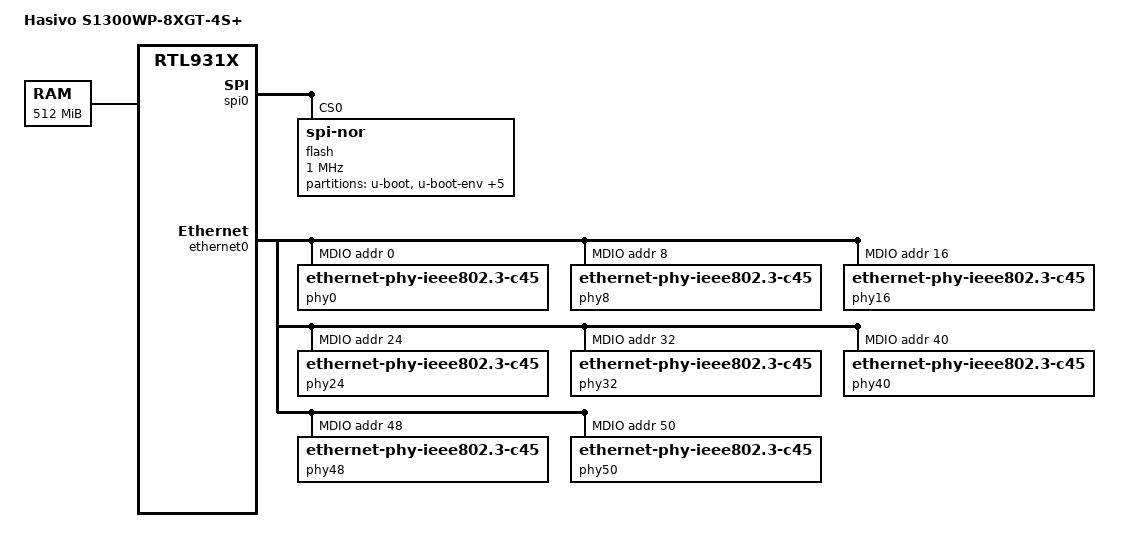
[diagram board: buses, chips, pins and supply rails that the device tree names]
// SPDX-License-Identifier: GPL-2.0-or-later
/dts-v1/;

#include "rtl931x.dtsi"

#include <dt-bindings/input/input.h>
#include <dt-bindings/gpio/gpio.h>
#include <dt-bindings/leds/common.h>

/ {
	compatible = "hasivo,s1300wp-8xgt-4s+", "realtek,rtl931x-soc";
	model = "Hasivo S1300WP-8XGT-4S+";

	memory@0 {
		device_type = "memory";
		reg = <0x00000000 0x10000000>, /* 256 MiB lowmem */
		      <0x20000000 0x10000000>; /* 256 MiB highmem */
	};

	chosen {
		stdout-path = "serial0:38400n8";
	};
};

&spi0 {
	status = "okay";

	flash@0 {
		compatible = "jedec,spi-nor";
		reg = <0>;
		spi-max-frequency = <1000000>;
		
		partitions {
			compatible = "fixed-partitions";
			#address-cells = <1>;
			#size-cells = <1>;

			/* stock is LOADER */
			partition@0 {
				label = "u-boot";
				reg = <0x00000000 0x000e0000>;
				read-only;
			};

			/* stock is BDINFO */
			partition@e0000 {
				label = "u-boot-env";
				reg = <0x000e0000 0x0001000>;
			};

			/* stock is SYSINFO */
			partition@f0000 {
				label = "u-boot-env2";
				reg = <0x000f0000 0x00010000>;
			};

			/* stock is JFFS2_CFG */
			partition@100000 {
				label = "jffs";
				reg = <0x00100000 0x00100000>;
			};

			/* stock is JFFS2_LOG */
			partition@200000 {
				label = "jffs2";
				reg = <0x00200000 0x00100000>;
			};

			/* stock is RUNTIME */
			partition@300000 {
				compatible = "openwrt,uimage", "denx,uimage";
				label = "firmware";
				reg = <0x00300000 0x00700000>;
			};

			/* stock is RUNTIME2 */
			partition@a00000 {
				label = "oeminfo";
				reg = <0x00a00000 0x01600000>;
				read-only;
			};
		};
	};
};

&ethernet0 {
	mdio: mdio-bus {
		compatible = "realtek,rtl838x-mdio";
		regmap = <&ethernet0>;
		#address-cells = <1>;
		#size-cells = <0>;

		phy0: ethernet-phy@0 {
			compatible = "ethernet-phy-ieee802.3-c45";
			rtl9300,smi-address = <0 0>;
			reg = <0>;
			sds = <2>;
		};

		phy8: ethernet-phy@8 {
			compatible = "ethernet-phy-ieee802.3-c45";
			rtl9300,smi-address = <0 1>;
			reg = <8>;
			sds = <3>;
		};

		phy16: ethernet-phy@16 {
			compatible = "ethernet-phy-ieee802.3-c45";
			rtl9300,smi-address = <0 2>;
			reg = <16>;
			sds = <4>;
		};

		phy24: ethernet-phy@24 {
			compatible = "ethernet-phy-ieee802.3-c45";
			rtl9300,smi-address = <0 3>;
			reg = <24>;
			sds = <5>;
		};

		phy32: ethernet-phy@32 {
			compatible = "ethernet-phy-ieee802.3-c45";
			rtl9300,smi-address = <3 16>;
			reg = <32>;
			sds = <6>;
		};

		phy40: ethernet-phy@40 {
			compatible = "ethernet-phy-ieee802.3-c45";
			rtl9300,smi-address = <3 17>;
			reg = <40>;
			sds = <7>;
		};

		phy48: ethernet-phy@48 {
			compatible = "ethernet-phy-ieee802.3-c45";
			rtl9300,smi-address = <3 18>;
			reg = <48>;
			sds = <8>;
		};

		phy50: ethernet-phy@50 {
			compatible = "ethernet-phy-ieee802.3-c45";
			rtl9300,smi-address = <3 19>;
			reg = <50>;
			sds = <9>;
		};
	};
};

&switch0 {
	ports {
		#address-cells = <1>;
		#size-cells = <0>;

		port@0 {
			reg = <0>;
			label = "lan1";
			phy-mode = "usxgmii";
			phy-handle = <&phy0>;
			led-set = <0>;
		};

		port@8 {
			reg = <8>;
			label = "lan2";
			phy-mode = "usxgmii";
			phy-handle = <&phy8>;
			led-set = <0>;
		};

		port@16 {
			reg = <16>;
			label = "lan3";
			phy-mode = "usxgmii";
			phy-handle = <&phy16>;
			led-set = <0>;
		};

		port@24 {
			reg = <24>;
			label = "lan4";
			phy-mode = "usxgmii";
			phy-handle = <&phy24>;
			led-set = <0>;
		};

		port@32 {
			reg = <32>;
			label = "lan5";
			phy-mode = "usxgmii";
			phy-handle = <&phy32>;
			led-set = <0>;
		};

		port@40 {
			reg = <40>;
			label = "lan6";
			phy-mode = "usxgmii";
			phy-handle = <&phy40>;
			led-set = <0>;
		};

		port@48 {
			reg = <48>;
			label = "lan7";
			phy-mode = "usxgmii";
			phy-handle = <&phy48>;
			led-set = <0>;
		};

		port@50 {
			reg = <50>;
			label = "lan8";
			phy-mode = "usxgmii";
			phy-handle = <&phy50>;
			led-set = <0>;
		};

		port@56 {
			ethernet = <&ethernet0>;
			reg = <56>;
			phy-mode = "internal";

			fixed-link {
				speed = <10000>;
				full-duplex;
			};
		};
	};
};
